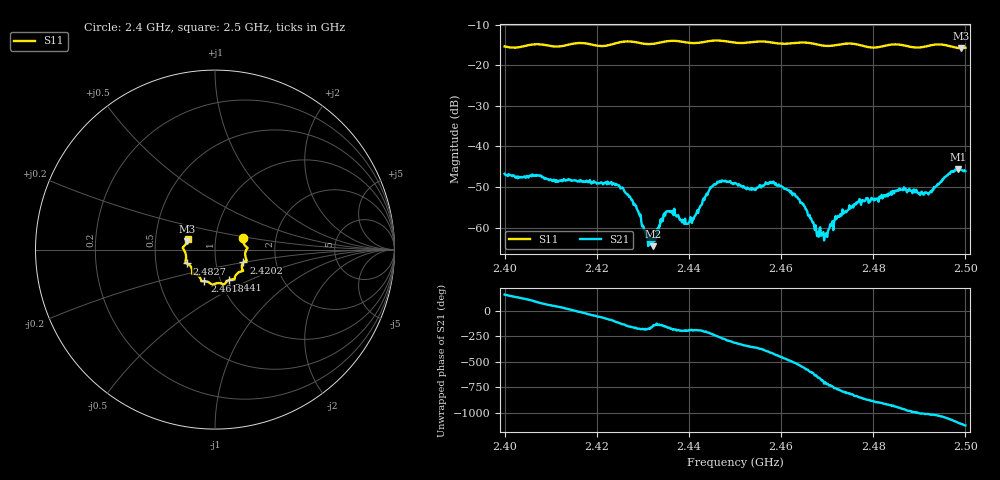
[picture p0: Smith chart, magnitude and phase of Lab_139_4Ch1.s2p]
# Hz S RI R 50
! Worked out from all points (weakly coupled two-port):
!   601 points, 2.4 GHz to 2.5 GHz, reference 50 ohm
!   highest |S21| = -45.61 dB at 2.4983 GHz (marker M1); lowest = -64.6 dB at 2.4322 GHz (marker M2)
!   lowest |S11| = -15.8 dB at 2.499 GHz (marker M3), VSWR 1.39, Z = 36.4 + j3.46 ohm
!   |S11| at or under -10 dB: start of sweep to end of sweep
!   S12 and S22 are empty: the file has one direction only
!   S11 on the Smith chart (normalised r, x): 2.4 GHz: 1.36, +0.18; 2.4202 GHz: 1.36, -0.20; 2.441 GHz: 1.10, -0.39; 2.4618 GHz: 0.84, -0.30; 2.4827 GHz: 0.72, -0.12; 2.5 GHz: 0.73, +0.09
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2.4e9  0.1582 0.0627  -0.00432 0.00159  0 0  0 0
2.416667e9  0.1773 -0.0607  0.00368 -0.000807  0 0  0 0
2.420167e9  0.1581 -0.0713  0.00189 -0.00295  0 0  0 0
2.425833e9  0.1561 -0.1169  -0.00201 -0.00216  0 0  0 0
2.432167e9  0.1171 -0.1405  -0.000508 -0.000305  0 0  0 0
2.433333e9  0.1114 -0.151  -0.000607 -0.000559  0 0  0 0
2.4355e9  0.1093 -0.1651  -0.00154 -0.000422  0 0  0 0
2.439333e9  0.0949 -0.166  -0.0011 0.000182  0 0  0 0
2.441e9  0.0785 -0.1697  -0.00125 0.000229  0 0  0 0
2.445167e9  0.0519 -0.1935  -0.00205 0.00259  0 0  0 0
2.45e9  0.0283 -0.1871  0.00246 0.00258  0 0  0 0
2.458e9  -0.025 -0.1884  0.00215 -0.00279  0 0  0 0
2.461833e9  -0.0595 -0.1754  -0.00167 -0.00229  0 0  0 0
2.466667e9  -0.0783 -0.1683  -0.000474 0.00113  0 0  0 0
2.469667e9  -0.0924 -0.1462  0.000811 0.000251  0 0  0 0
2.476667e9  -0.1267 -0.1267  -0.00108 -0.00178  0 0  0 0
2.482667e9  -0.156 -0.0773  -0.00236 0.000495  0 0  0 0
2.483333e9  -0.1603 -0.0755  -0.00249 0.000836  0 0  0 0
2.492167e9  -0.1741 -0.000279  0.000996 0.00251  0 0  0 0
2.498333e9  -0.1587 0.0374  0.00512 -0.00111  0 0  0 0
2.499e9  -0.1553 0.0463  0.00468 -0.00231  0 0  0 0
2.5e9  -0.1521 0.0608  0.0037 -0.00333  0 0  0 0
